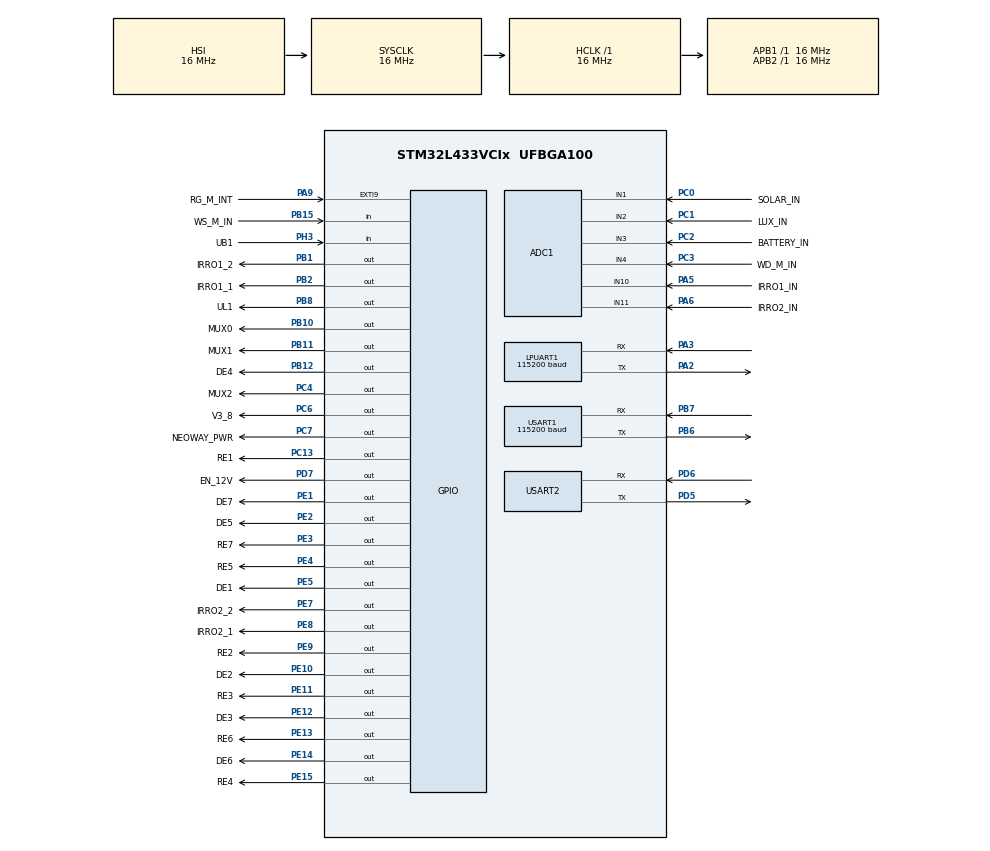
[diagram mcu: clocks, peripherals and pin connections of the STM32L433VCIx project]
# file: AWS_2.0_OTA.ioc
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ADC1.Channel-0\#ChannelRegularConversion=ADC_CHANNEL_1
ADC1.NbrOfConversionFlag=1
ADC1.OffsetNumber-0\#ChannelRegularConversion=ADC_OFFSET_NONE
ADC1.Rank-0\#ChannelRegularConversion=1
ADC1.SamplingTime-0\#ChannelRegularConversion=ADC_SAMPLETIME_2CYCLES_5
ADC1.master=1
IWDG.Prescaler=IWDG_PRESCALER_256
LPUART1.BaudRate=115200
LPUART1.WordLength=UART_WORDLENGTH_8B
Mcu.Family=STM32L4
Mcu.Name=STM32L433VCIx
Mcu.Package=UFBGA100
NVIC.EXTI9_5_IRQn=true\:0\:0\:false\:false\:true\:true\:true\:true
NVIC.PriorityGroup=NVIC_PRIORITYGROUP_4
NVIC.RCC_IRQn=true\:0\:0\:false\:false\:true\:true\:false\:true
NVIC.RTC_Alarm_IRQn=true\:0\:0\:false\:false\:true\:true\:true\:true
NVIC.RTC_WKUP_IRQn=true\:0\:0\:false\:false\:true\:true\:true\:true
PA13\ (JTMS-SWDIO).Mode=Serial_Wire
PA13\ (JTMS-SWDIO).Signal=SYS_JTMS-SWDIO
PA14\ (JTCK-SWCLK).Mode=Serial_Wire
PA14\ (JTCK-SWCLK).Signal=SYS_JTCK-SWCLK
PA2.Mode=Asynchronous
PA2.Signal=LPUART1_TX
PA3.Mode=Asynchronous
PA3.Signal=LPUART1_RX
PA5.GPIO_Label=IRRO1_IN
PA5.Signal=ADCx_IN10
PA6.GPIO_Label=IRRO2_IN
PA6.Signal=SharedAnalog_PA6
PA9.GPIO_Label=RG_M_INT
PA9.Signal=GPXTI9
PB1.GPIO_Label=IRRO1_2
PB1.Signal=GPIO_Output
PB10.GPIO_Label=MUX0
PB10.Signal=GPIO_Output
PB11.GPIO_Label=MUX1
PB11.Signal=GPIO_Output
PB12.GPIO_Label=DE4
PB12.GPIO_Speed=GPIO_SPEED_FREQ_LOW
PB12.Signal=GPIO_Output
PB15.GPIO_Label=WS_M_IN
PB15.Signal=GPIO_Input
PB2.GPIO_Label=IRRO1_1
PB2.Signal=GPIO_Output
PB6.Mode=Asynchronous
PB6.Signal=USART1_TX
PB7.Mode=Asynchronous
PB7.Signal=USART1_RX
PB8.GPIO_Label=UL1
PB8.Signal=GPIO_Output
PC0.GPIO_Label=SOLAR_IN
PC0.Signal=ADCx_IN1
PC1.GPIO_Label=LUX_IN
PC1.Signal=ADCx_IN2
PC13.GPIO_Label=RE1
PC13.Signal=GPIO_Output
PC14-OSC32_IN\ (PC14).Mode=LSE-External-Oscillator
PC14-OSC32_IN\ (PC14).Signal=RCC_OSC32_IN
PC15-OSC32_OUT\ (PC15).Mode=LSE-External-Oscillator
PC15-OSC32_OUT\ (PC15).Signal=RCC_OSC32_OUT
PC2.GPIO_Label=BATTERY_IN
PC2.Signal=SharedAnalog_PC2
PC3.GPIO_Label=WD_M_IN
PC3.Signal=ADCx_IN4
PC4.GPIO_Label=MUX2
PC4.Signal=GPIO_Output
PC6.GPIO_Label=V3_8
PC6.PinState=GPIO_PIN_SET
PC6.Signal=GPIO_Output
PC7.GPIO_Label=NEOWAY_PWR
PC7.GPIO_ModeDefaultOutputPP=GPIO_MODE_OUTPUT_PP
PC7.GPIO_PuPd=GPIO_PULLDOWN
PC7.GPIO_Speed=GPIO_SPEED_FREQ_HIGH
PC7.Signal=GPIO_Output
PD5.Mode=Asynchronous
PD5.Signal=USART2_TX
PD6.Mode=Asynchronous
PD6.Signal=USART2_RX
PD7.GPIO_Label=EN_12V
PD7.Signal=GPIO_Output
PE1.GPIO_Label=DE7
PE1.GPIO_Speed=GPIO_SPEED_FREQ_LOW
PE1.Signal=GPIO_Output
PE10.GPIO_Label=DE2
PE10.GPIO_Speed=GPIO_SPEED_FREQ_LOW
PE10.Signal=GPIO_Output
PE11.GPIO_Label=RE3
PE11.GPIO_Speed=GPIO_SPEED_FREQ_LOW
PE11.Signal=GPIO_Output
PE12.GPIO_Label=DE3
PE12.GPIO_Speed=GPIO_SPEED_FREQ_LOW
PE12.Signal=GPIO_Output
PE13.GPIO_Label=RE6
PE13.GPIO_Speed=GPIO_SPEED_FREQ_LOW
PE13.Signal=GPIO_Output
PE14.GPIO_Label=DE6
PE14.GPIO_Speed=GPIO_SPEED_FREQ_LOW
PE14.Signal=GPIO_Output
PE15.GPIO_Label=RE4
PE15.GPIO_Speed=GPIO_SPEED_FREQ_LOW
PE15.Signal=GPIO_Output
PE2.GPIO_Label=DE5
PE2.GPIO_Speed=GPIO_SPEED_FREQ_LOW
PE2.Signal=GPIO_Output
PE3.GPIO_Label=RE7
PE3.GPIO_Speed=GPIO_SPEED_FREQ_LOW
PE3.Signal=GPIO_Output
PE4.GPIO_Label=RE5
PE4.GPIO_Speed=GPIO_SPEED_FREQ_LOW
PE4.Signal=GPIO_Output
PE5.GPIO_Label=DE1
PE5.GPIO_Speed=GPIO_SPEED_FREQ_LOW
PE5.Signal=GPIO_Output
PE7.GPIO_Label=IRRO2_2
PE7.Signal=GPIO_Output
PE8.GPIO_Label=IRRO2_1
PE8.Signal=GPIO_Output
PE9.GPIO_Label=RE2
PE9.GPIO_Speed=GPIO_SPEED_FREQ_LOW
PE9.Signal=GPIO_Output
PH3-BOOT0.GPIO_Label=UB1
PH3-BOOT0.Signal=GPIO_Input
ProjectManager.HeapSize=0x200
ProjectManager.StackSize=0x400
ProjectManager.TargetToolchain=STM32CubeIDE
RCC.ADCCLockSelection=RCC_ADCCLKSOURCE_SYSCLK
RCC.ADCFreq_Value=16000000
RCC.AHBFreq_Value=16000000
RCC.APB1Freq_Value=16000000
RCC.APB1TimFreq_Value=16000000
RCC.APB2Freq_Value=16000000
RCC.APB2TimFreq_Value=16000000
RCC.CortexFreq_Value=16000000
RCC.HCLKFreq_Value=16000000
RCC.HSE_VALUE=16000000
RCC.HSI48_VALUE=48000000
RCC.HSI_VALUE=16000000
RCC.LPUART1CLockSelection=RCC_LPUART1CLKSOURCE_SYSCLK
RCC.MSI_VALUE=4000000
RCC.PLLSourceVirtual=RCC_PLLSOURCE_HSI
RCC.RTCClockSelection=RCC_RTCCLKSOURCE_LSE
RCC.SYSCLKFreq_VALUE=16000000
RCC.SYSCLKSource=RCC_SYSCLKSOURCE_HSI
RCC.USART1CLockSelection=RCC_USART1CLKSOURCE_SYSCLK
RCC.USART2CLockSelection=RCC_USART2CLKSOURCE_SYSCLK
RCC.USBFreq_Value=64000000
RCC.VCOOutputFreq_Value=128000000
RTC.Alarm-Alarm\ A=RTC_ALARM_A
RTC.AlarmDateWeekDaySel-Alarm\ A=RTC_ALARMDATEWEEKDAYSEL_WEEKDAY
RTC.AlarmMaskDateWeekDay-Alarm\ A=RTC_ALARMMASK_DATEWEEKDAY
RTC.AlarmMaskSeconds-Alarm\ A=RTC_ALARMMASK_SECONDS
RTC.AlarmSubSecondMask-Alarm\ A=RTC_ALARMSUBSECONDMASK_ALL
RTC.Alarm_B-Alarm\ B=RTC_ALARM_B
RTC.Format=RTC_FORMAT_BIN
RTC.Hours_A-Alarm\ A=12
RTC.Minutes_A-Alarm\ A=0
RTC.StoreOperation=RTC_STOREOPERATION_SET
RTC.WakeUpClock-WakeUp=RTC_WAKEUPCLOCK_CK_SPRE_16BITS
RTC.WakeUpCounter-WakeUp=1
SH.ADCx_IN1.0=ADC1_IN1,IN1-Single-Ended
SH.ADCx_IN10.0=ADC1_IN10,IN10-Single-Ended
SH.ADCx_IN2.0=ADC1_IN2,IN2-Single-Ended
SH.ADCx_IN4.0=ADC1_IN4,IN4-Single-Ended
SH.SharedAnalog_PA6.0=GPIO_Analog
SH.SharedAnalog_PA6.1=ADC1_IN11,IN11-Single-Ended
SH.SharedAnalog_PC2.0=GPIO_Analog
SH.SharedAnalog_PC2.1=ADC1_IN3,IN3-Single-Ended
USART1.BaudRate=115200
USART1.VirtualMode-Asynchronous=VM_ASYNC
USART2.VirtualMode-Asynchronous=VM_ASYNC
VP_IWDG_VS_IWDG.Mode=IWDG_Activate
VP_RTC_VS_RTC_Activate.Mode=RTC_Enabled
VP_RTC_VS_RTC_Alarm_A_Intern.Mode=Alarm A
VP_RTC_VS_RTC_Alarm_B_Intern.Mode=Alarm B
VP_RTC_VS_RTC_Calendar.Mode=RTC_Calendar
VP_RTC_VS_RTC_WakeUp_intern.Mode=WakeUp
VP_SYS_V_VREFBUF.Mode=ExternalMode
board=custom

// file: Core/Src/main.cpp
                                                      /* USER CODE BEGIN Header */
/**
 ******************************************************************************
 * @file           : main.c
 * @brief          : Main program body
 ******************************************************************************
 * @attention
 *
 * Copyright (c) 2023 STMicroelectronics.
 * All rights reserved.
 *
 * This software is licensed under terms that can be found in the LICENSE file
 * in the root directory of this software component.
 * If no LICENSE file comes with this software, it is provided AS-IS.
 ******************************************************************************
 */
/* USER CODE END Header */

#include <main.h>
//#include "dma.h"
#include "usart.h"
#include "iwdg.h"
#include "adc.h"
#include "gpio.h"
#include "rtc.h"

//#define UB1_ON
//#define UL1_ON

//#define neo_cont_print
//#define neo_print_resp_size
#define PRINT_WAKEUP_TIME
//#define ALWAYS_PRINT
#define BLE_ON
//#define BLE_PRINT
// change clock configuration
//#define OTA_ASK

#include "INCLUDER.h"

/* USER CODE END Includes */

/* USER CODE BEGIN PM */
//#define APP_OTA
#if defined(APP_OTA)
const uint32_t appadd = 0x8000000;
#else
const uint32_t appadd = 0x801F000;
#endif
//uint32_t appadd = 0x0800EA60;
typedef void (*ptrFapp)();

void go2app(uint32_t APP_ADDR) {
	uint32_t JumpAddress;
	ptrFapp Jump_app;

	both_debug.Print2("\r\nAPP ADDRESS = " + d_t_h_s(APP_ADDR));
	if (((*(uint32_t*) APP_ADDR) & 0x2FFE0000) == 0x20000000) {
		JumpAddress = *(uint32_t*) (APP_ADDR + 4);
		both_debug.Print2("\tGoing to APP : " + d_t_h_s(JumpAddress));
		Jump_app = (ptrFapp) JumpAddress;
//		uint32_t MSP_ADD = *(uint32_t*) APP_ADDR;
//		both_debug.Print2("\tChanging MSP to: " + d_t_h_s(MSP_ADD));
//		__set_MSP(MSP_ADD);
		Jump_app();
	} else {
		both_debug.Print2("\r\nNo APP : Reseting system");
		NVIC_SystemReset();
	}
}

/* USER CODE END PM */

/* USER CODE BEGIN PV */
bool check_ota = 0;
/* USER CODE END PV */

void SystemClock_Config(void);

/* USER CODE BEGIN 0 */

// macro to define objects for classes to automatically add variable name for rs485 class
#define create_rs485(class_name, obj_name) \
		class_name obj_name( &huart2, vp, #obj_name, 1)
#define add_to_rs485( obj_name) \
		Rs485_ptr[rs485_ptr_itr++] = &obj_name

//		class_name obj_name( &huart3, vp, #obj_name, 1)

#define create(class_name, obj_name) \
		class_name obj_name(vp, #obj_name, 1)
#define create_0(class_name, obj_name) \
		class_name obj_name(vp, #obj_name, 0)

create(VARIABLES, WS);
create(VARIABLES, DEVICE_ID);
//create_0(VARIABLES, ALARM_TIME);
create_0(VARIABLES, WAKEUP_INT);
create_0(VARIABLES, CHECK_OTA);
create_0(VARIABLES, PRINT);
create_0(VARIABLES, PRINT_ESSENTIALS);
create_0(VARIABLES, INSTALL_CERT);
create_0(BUTTON_READ, BUTTON);
create_0(VARIABLES, EXIT);

JSON_HANDLER data_packet(variables_pointer);
PWR_PIN V_12(EN_12V_GPIO_Port, EN_12V_Pin);

//RTC_DateTypeDef now_date;
//RTC_TimeTypeDef now_time;

#include "FUNCTIONS.h"

/* USER CODE END 0 */

int main(void) {

	/* MCU Configuration--------------------------------------------------------*/

	/* Reset of all peripherals, Initializes the Flash interface and the Systick. */
	HAL_Init();

	/* Configure the system clock */
	SystemClock_Config();

	/* Initialize all configured peripherals */
	MX_GPIO_Init();
	MX_USART2_UART_Init();
	MX_ADC1_Init();
	MX_LPUART1_UART_Init();
	MX_USART1_UART_Init();
	MX_RTC_Init();
	MX_IWDG_Init();
	/* USER CODE BEGIN 2 */
	if (HAL_RTCEx_SetWakeUpTimer_IT(&hrtc, 5, RTC_WAKEUPCLOCK_CK_SPRE_16BITS) != HAL_OK) {
		Error_Handler();
	}
	object_setup();

#if defined(UB1_ON)
	BUTTON.SET_PIN(UB1_GPIO_Port, UB1_Pin);
#endif
	/* USER CODE END 2 */

//	add_to_rs485(NPK_SENSOR);
//	add_to_rs485(LEAF_SENSOR);
//	add_to_rs485(SOIL_SENSOR);
//	add_to_rs485(AIR_TPH_SENSOR);
//	add_to_rs485(RAIN_GAUGE_SENSOR);
//	add_to_rs485(GEMHO_SOIL_NPK);
//	add_to_rs485(GEMHO_SOIL_TH);
//	add_to_rs485(GEMHO_4_1);
//	add_to_rs485(GEMHO_7_1);
//	add_to_rs485(GEMHO_AIR_TPH);
//	add_to_rs485(CHANGE_ADD);
//	add_to_rs485(CHANGE_ADD2);  final git
	/* Infinite loop */
	while (1) {
		/* USER CODE BEGIN 3 */
			if(APP_Reset_check())
				go2app(appadd);

#if defined(UL1_ON)
		LED_1.SET(1, 500);
#endif

		ALL_POWER_ON();
//		HAL_RTCEx_DeactivateWakeUpTimer(&hrtc);
		neoway.POWER_ON();

		config_file();

#if defined(BLE_ON)
		neoway.BLE_SETUP(d_t_s(WS.GET_VAR_VALUE_CONN()));
#endif

		if (PRINT.GET_VAR_VALUE_CONN() == 1) {
			set_both_print(1);
			both_debug.Print2("\r\nPRINT ON\r\n");
			config_file();
		}

		neoway.INIT();
		if(Network.GPRS_ON)Get_save_time();

		PassAuthen();

		both_debug.Print2("\r\nIn OTA CODE  " __TIME__ " - " __DATE__ "\r\n");

		MENU_PRINT(is_any_print());

//		{
//			uint32_t alarmtim_temp = ALARM_TIME.GET_VAR_VALUE_CONN();
//			RTC_TimeTypeDef alarmtime = { alarmtim_temp / 100, alarmtim_temp % 100 };
//			Set_RTC_ALARM(alarmtime, RTC_ALARM_A);
//		}

		if (WS.GET_VAR_VALUE_CONN() == -1) {
			NVIC_SystemReset();
		}

//#define TEST

//		STOPPER("Enter \"1\" to go to OTA_FUCNTION", "1");
		check_all_certificates();
		OTA_FUNCTION();
//		STOPPER("Enter \"1\" to go to application", "1");
//		GO_TO_SLEEP();
		go2app(appadd);
//		STOPPER("Enter \"1\" to Exit", "1");
		NVIC_SystemReset();

	}
	/* USER CODE END 3 */
}

/*
 * @brief System Clock Configuration
 * @retval None
 */
void SystemClock_Config(void) {
	RCC_OscInitTypeDef RCC_OscInitStruct = { 0 };
	RCC_ClkInitTypeDef RCC_ClkInitStruct = { 0 };

	/** Configure the main internal regulator output voltage
	 */
	if (HAL_PWREx_ControlVoltageScaling(PWR_REGULATOR_VOLTAGE_SCALE1) != HAL_OK) {
		Error_Handler();
	}

	/** Configure LSE Drive Capability
	 */
	HAL_PWR_EnableBkUpAccess();
	__HAL_RCC_LSEDRIVE_CONFIG(RCC_LSEDRIVE_LOW);

	/** Initializes the RCC Oscillators according to the specified parameters
	 * in the RCC_OscInitTypeDef structure.
	 */
	RCC_OscInitStruct.OscillatorType = RCC_OSCILLATORTYPE_HSI | RCC_OSCILLATORTYPE_LSE;
	RCC_OscInitStruct.LSEState = RCC_LSE_ON;
	RCC_OscInitStruct.HSIState = RCC_HSI_ON;
	RCC_OscInitStruct.HSICalibrationValue = RCC_HSICALIBRATION_DEFAULT;
	RCC_OscInitStruct.PLL.PLLState = RCC_PLL_NONE;
	if (HAL_RCC_OscConfig(&RCC_OscInitStruct) != HAL_OK) {
		Error_Handler();
	}

	/** Initializes the CPU, AHB and APB buses clocks
	 */
	RCC_ClkInitStruct.ClockType = RCC_CLOCKTYPE_HCLK | RCC_CLOCKTYPE_SYSCLK | RCC_CLOCKTYPE_PCLK1 | RCC_CLOCKTYPE_PCLK2;
	RCC_ClkInitStruct.SYSCLKSource = RCC_SYSCLKSOURCE_HSI;
	RCC_ClkInitStruct.AHBCLKDivider = RCC_SYSCLK_DIV1;
	RCC_ClkInitStruct.APB1CLKDivider = RCC_HCLK_DIV1;
	RCC_ClkInitStruct.APB2CLKDivider = RCC_HCLK_DIV1;

	if (HAL_RCC_ClockConfig(&RCC_ClkInitStruct, FLASH_LATENCY_0) != HAL_OK) {
		Error_Handler();
	}
}

/* USER CODE BEGIN 4 */
bool APP_Reset_check() {
		HAL_PWR_EnableBkUpAccess();
		uint32_t tag = HAL_RTCEx_BKUPRead(&hrtc, APP_RESET_FLAG_REG);
		if (tag == APP_RESET_MAGIC) {
			HAL_RTCEx_BKUPWrite(&hrtc, APP_RESET_FLAG_REG, 0);
			return true;
		} else {
			return false;  // Invalid or uninitialized — reset to 0
		}

	}

/* USER CODE END 4 */

void Error_Handler(void) {
	__disable_irq();
	while (1) {
	}
}
